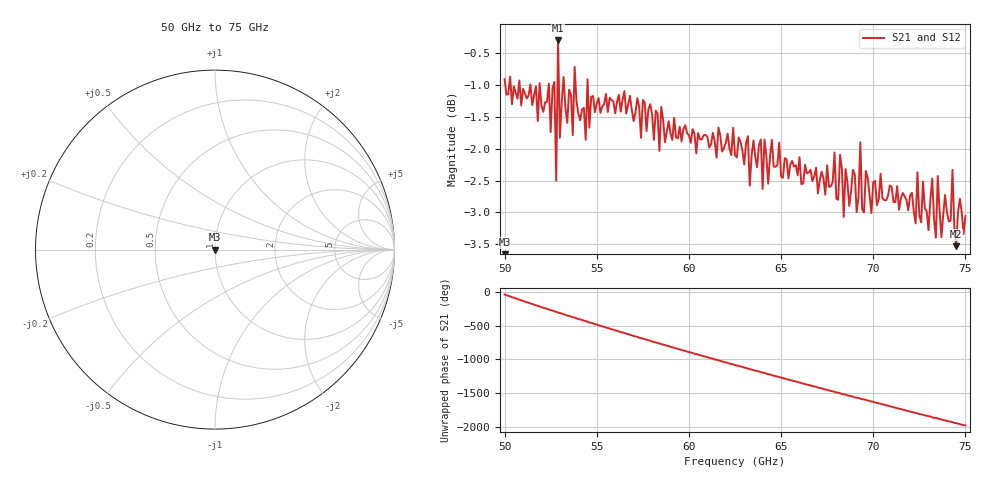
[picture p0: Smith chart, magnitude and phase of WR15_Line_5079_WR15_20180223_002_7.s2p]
# GHZ S RI R 50
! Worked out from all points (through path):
!   251 points, 50 GHz to 75 GHz, reference 50 ohm
!   highest |S21| = -0.31 dB at 52.9 GHz (marker M1); lowest = -3.5 dB at 74.5 GHz (marker M2)
!   lowest |S11| = - dB at 50 GHz (marker M3), VSWR 1.00, Z = 50 + j3.58e-16 ohm
!   |S11| at or under -10 dB: start of sweep to end of sweep
!   |S22| runs from - to - dB; largest |S21 - S12| = 1.4e-15
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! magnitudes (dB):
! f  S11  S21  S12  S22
! 50 GHz  -  -0.9  -0.9  -
! 52.4 GHz  -  -1.0  -1.0  -
! 52.5 GHz  -  -1.7  -1.7  -
! 52.7 GHz  -  -1.0  -1.0  -
! 52.8 GHz  -  -2.5  -2.5  -
! 52.9 GHz  -  -0.3  -0.3  -
! 53 GHz  -  -1.8  -1.8  -
! 53.2 GHz  -  -0.9  -0.9  -
! 54.2 GHz  -  -1.4  -1.4  -
! 58.4 GHz  -  -2.0  -2.0  -
! 62.5 GHz  -  -2.1  -2.1  -
! 66.7 GHz  -  -2.5  -2.5  -
! 70.9 GHz  -  -2.6  -2.6  -
! 72.4 GHz  -  -2.4  -2.4  -
! 73 GHz  -  -3.3  -3.3  -
! 73.2 GHz  -  -2.5  -2.5  -
! 73.4 GHz  -  -3.4  -3.4  -
! 73.5 GHz  -  -2.4  -2.4  -
! 73.7 GHz  -  -3.4  -3.4  -
! 74.3 GHz  -  -2.3  -2.3  -
! 74.5 GHz  -  -3.5  -3.5  -
! 75 GHz  -  -3.1  -3.1  -
